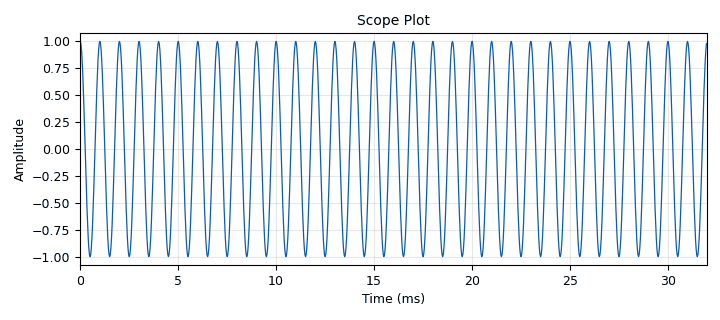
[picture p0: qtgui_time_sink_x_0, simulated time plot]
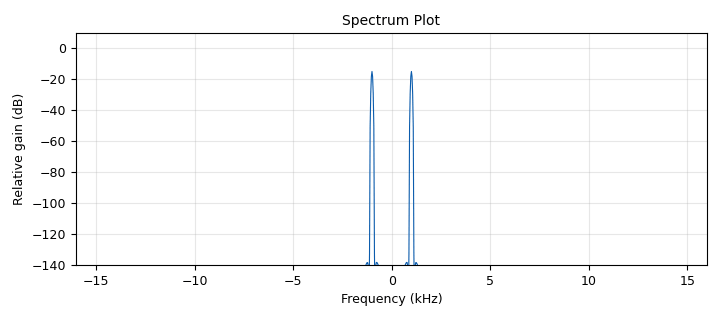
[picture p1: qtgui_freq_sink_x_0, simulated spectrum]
<?xml version='1.0' encoding='utf-8'?>
<flow_graph>
<block>
<key>options</key>
<param><key>id</key><value>server_block</value></param>
<param><key>title</key><value>XMLRPC Server</value></param>
<param><key>author</key><value>Example</value></param>
<param><key>description</key><value>example flow graph</value></param>
<param><key>generate_options</key><value>qt_gui</value></param>
<param><key>category</key><value>Custom</value></param>
</block>
<block>
<key>variable</key>
<param><key>id</key><value>ampl</value></param>
<param><key>value</key><value>1</value></param>
</block>
<block>
<key>variable</key>
<param><key>id</key><value>freq</value></param>
<param><key>value</key><value>1000</value></param>
</block>
<block>
<key>variable</key>
<param><key>id</key><value>samp_rate</value></param>
<param><key>value</key><value>32000</value></param>
</block>
<block>
<key>variable</key>
<param><key>id</key><value>offset</value></param>
<param><key>value</key><value>0</value></param>
</block>
<block>
<key>analog_sig_source_x</key>
<param><key>id</key><value>analog_sig_source_x_0</value></param>
<param><key>type</key><value>float</value></param>
<param><key>samp_rate</key><value>samp_rate</value></param>
<param><key>waveform</key><value>analog.GR_COS_WAVE</value></param>
<param><key>freq</key><value>freq</value></param>
<param><key>amp</key><value>ampl</value></param>
<param><key>offset</key><value>offset</value></param>
</block>
<block>
<key>blocks_throttle</key>
<param><key>id</key><value>blocks_throttle</value></param>
<param><key>type</key><value>float</value></param>
<param><key>samples_per_second</key><value>samp_rate</value></param>
</block>
<block>
<key>xmlrpc_server</key>
<param><key>id</key><value>xmlrpc_server</value></param>
<param><key>addr</key><value>localhost</value></param>
<param><key>port</key><value>1234</value></param>
</block>
<block>
<key>qtgui_time_sink_x</key>
<param><key>id</key><value>qtgui_time_sink_x_0</value></param>
<param><key>type</key><value>float</value></param>
<param><key>name</key><value>Scope Plot</value></param>
<param><key>size</key><value>1024</value></param>
<param><key>srate</key><value>samp_rate</value></param>
<param><key>gui_hint</key><value>0, 0, 2, 4</value></param>
<param><key>label1</key><value></value></param>
<param><key>color1</key><value>"blue"</value></param>
</block>
<block>
<key>qtgui_freq_sink_x</key>
<param><key>id</key><value>qtgui_freq_sink_x_0</value></param>
<param><key>type</key><value>float</value></param>
<param><key>name</key><value>Spectrum Plot</value></param>
<param><key>fftsize</key><value>1024</value></param>
<param><key>wintype</key><value>firdes.WIN_BLACKMAN_hARRIS</value></param>
<param><key>fc</key><value>0</value></param>
<param><key>bw</key><value>samp_rate</value></param>
<param><key>gui_hint</key><value>2, 0, 2, 4</value></param>
</block>
<connection><source_block_id>analog_sig_source_x_0</source_block_id><sink_block_id>blocks_throttle</sink_block_id><source_key>0</source_key><sink_key>0</sink_key></connection>
<connection><source_block_id>blocks_throttle</source_block_id><sink_block_id>qtgui_time_sink_x_0</sink_block_id><source_key>0</source_key><sink_key>0</sink_key></connection>
<connection><source_block_id>blocks_throttle</source_block_id><sink_block_id>qtgui_freq_sink_x_0</sink_block_id><source_key>0</source_key><sink_key>0</sink_key></connection>
</flow_graph>
